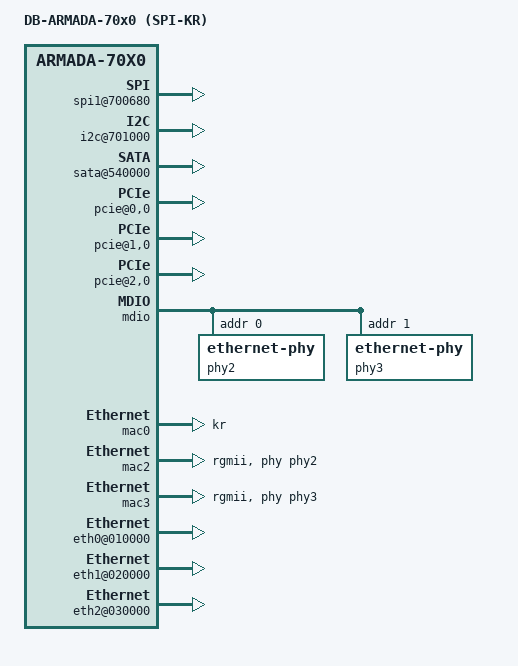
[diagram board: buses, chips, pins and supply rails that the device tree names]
/*
 * ***************************************************************************
 * Copyright (C) 2015 Marvell International Ltd.
 * ***************************************************************************
 * This program is free software: you can redistribute it and/or modify it
 * under the terms of the GNU General Public License as published by the Free
 * Software Foundation, either version 2 of the License, or any later version.
 *
 * This program is distributed in the hope that it will be useful,
 * but WITHOUT ANY WARRANTY; without even the implied warranty of
 * MERCHANTABILITY or FITNESS FOR A PARTICULAR PURPOSE.  See the
 * GNU General Public License for more details.
 *
 * You should have received a copy of the GNU General Public License
 * along with this program.  If not, see <http://www.gnu.org/licenses/>.
 * ***************************************************************************
 */

/dts-v1/;

#include "armada-70x0.dtsi" /* include SoC device tree */
#include "armada-70x0-dev-info.dtsi" /* include Marvell specific info (S@R, MPP cmd) */

/ {
	model = "DB-ARMADA-70x0 (SPI-KR)";
	compatible = "marvell,armada-70x0-db", "marvell,armada-70x0";
	fdt_config_id = <3>;
	board_id = <0x12>;

	ap-806 {
		internal-regs {
			spi0: spi@510600 {
				status = "disabled";
			};
			i2c0: i2c@511000 {
				status = "disabled";
			};
			pinctl: pinctl@6F4000 {
					/* MPP Bus:
						SDIO  [0-10]
						UART0 [11,19]
					*/
					  /* 0 1 2 3 4 5 6 7 8 9 */
				pin-func = < 1 1 1 1 1 1 1 1 1 1
					     1 3 0 0 0 0 0 0 0 3>;
			};
		};
	};
	cp110-master {
		internal-regs {
			spi0@700600 {
				status = "disabled";
			};
			spi1@700680 {
				status = "okay";
			};
			i2c@701000 {
				status = "okay";
			};
			i2c@211000 { /* MSS_i2c0 */
				status = "disabled";
			};
			i2c@211100 { /* MSS_i2c1 */
				status = "disabled";
			};
			usb3@500000 {
				status = "disabled";
			};
			usb3@510000 {
				status = "disabled";
			};
			sata@540000 {
				status = "okay";
			};
			mmc@780000 {
				status = "disabled";
			};
			pcie-controller {
				pcie@0,0 {
					status = "okay";
				};
				pcie@1,0 {
					status = "okay";
				};
				pcie@2,0 {
					status = "okay";
				};
			};
			nand@720000 {
				status = "disabled";
			};

			pinctl@440000 {
					/* MPP Bus:
					   RGMII0[0-11]
					   SPI   [13-16]
					   SATA1 [28]
					   UART0 [29-30]
					   SMI	 [32,34]
					   SATA0 [36]
					   I2C	 [37-38]
					   UART1 [40-41]
					   RGMII1[44-55]
					   SD	 [56-62]
					*/
					/*   0   1   2   3   4   5   6   7   8   9 */
				pin-func = < 3   3   3   3   3   3   3   3   3   3
					     3   3   0   3   3   3   3   0   0   0
					     0   0   0   0   0   0   0   0   9   0xA
					     0xA 0   7   0   7   7   6   2   2   0
					     0   0   0   0   1   1   1   1   1   1
					     1   1   1   1   1   1   0xE 0xE 0xE 0xE
					     0xE 0xE 0xE>;
			};

			comphy {
				/* Serdes Configuration:
					Lane 0: PEX0x1
					Lane 1: SATA0
					Lane 2: 10GKR
					Lane 3: SATA1
					Lane 4: PEX1x1
					Lane 5: PEX2x1
				*/
				phy0 {
					phy-type = <PHY_TYPE_PEX0>;
				};
				phy1 {
					phy-type = <PHY_TYPE_SATA0>;
				};
				phy2 {
					phy-type = <PHY_TYPE_KR>;
				};
				phy3 {
					phy-type = <PHY_TYPE_SATA1>;
				};
				phy4 {
					phy-type = <PHY_TYPE_PEX1>;
				};
				phy5 {
					phy-type = <PHY_TYPE_PEX2>;
				};
			};
			mdio {
				#address-cells = <1>;
				#size-cells = <0>;
				phy2: ethernet-phy@2 {
					reg = <0>;
				};
				phy3: ethernet-phy@3 {
					reg = <1>;
				};
			};
			gop {
				mac0 {
					phy-mode = "kr"; /* lane-2 */
					status = "okay";
				};
				mac2 {
					phy-mode = "rgmii"; /* rgmii-0 */
					phy = <&phy2>;
					status = "okay";
				};
				mac3 {
					phy-mode = "rgmii"; /* rgmii-1 */
					phy = <&phy3>;
					status = "okay";
				};
			};
			ppv22@000000 {
				eth0@010000 {
					status = "okay";
				};
				eth1@020000 {
					status = "okay";
				};
				eth2@030000 {
					status = "okay";
				};
			};
		};
	};
};
